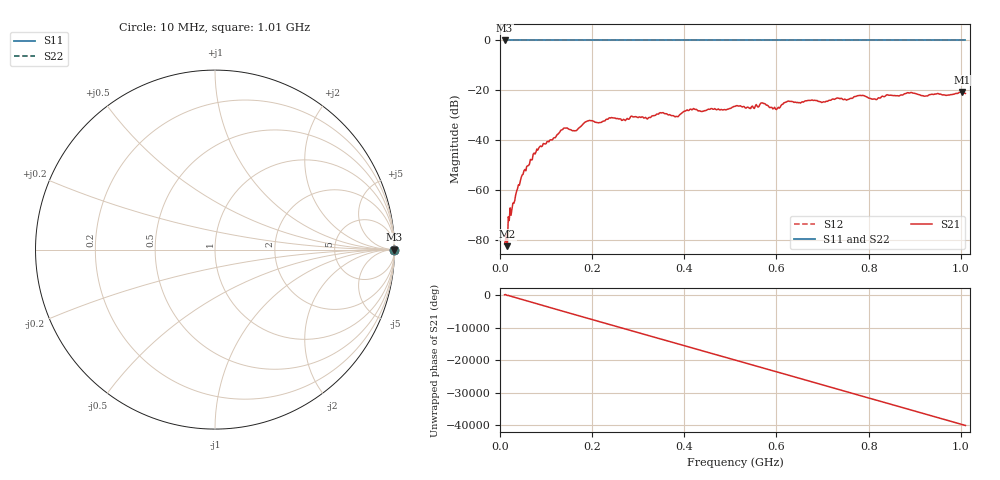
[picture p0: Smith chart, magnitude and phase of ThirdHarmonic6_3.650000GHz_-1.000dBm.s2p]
! 8/17/2025 12:17:16 PM
! C:\ANRITSUVNA\TEMP\TEMP.S2P
! CHANNEL.1
! TR.MEASUREMENT
! RAW.DATA
! RF.CORRECTION.OFF
! AVERAGING.OFF
! IF.BANDWIDTH: 5KHZ
! SWEEPTYPE:  FREQ.SWEEP(Linear)
! Reference Plane Port Info
! PORT:  PORT1  PORT2
! DISTANCE:  0  m  0  m
! TIME:  0  s  0  s
! PHASE.OFFSET:  0  deg.  0  deg.
! LOSS:  0  dB  0  dB
! REF.LOSS:  0  dB  0  dB
! REF.FREQ:  0  Hz  0  Hz
! Power Info
! POWER:  -20  dBm  -20  dBm
! EFF.POWER:  -20  dBm  -20  dBm
! SOURCE.ATTEN:  0  dB  0  dB
! TEST.ATTEN:  0  dB  0  dB
# GHZ S RI R 50.0
! FREQ.GHZ  S11RE  S11IM  S21RE  S21IM  S12RE  S12IM  S22RE  S22IM
!; PortSelection: Port_12
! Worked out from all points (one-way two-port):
!   501 points, 10 MHz to 1.01 GHz, reference 50 ohm
!   highest |S21| = -20.62 dB at 1.002 GHz (marker M1); lowest = -82.3 dB at 16 MHz (marker M2)
!   lowest |S11| = 0.0 dB at 10 MHz (marker M3)
!   |S11| at or under -10 dB: nowhere
!   |S22| runs from 0.0 to 0.0 dB; largest |S21 - S12| = 1.1
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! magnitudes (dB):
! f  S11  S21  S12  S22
! 10 MHz  0.0  -81.4  0.0  0.0
! 16 MHz  0.0  -82.3  0.0  0.0
! 22 MHz  0.0  -67.0  0.0  0.0
! 44 MHz  0.0  -56.3  0.0  0.0
! 76 MHz  0.0  -45.5  0.0  0.0
! 136 MHz  0.0  -35.7  0.0  0.0
! 162 MHz  0.0  -36.2  0.0  0.0
! 178 MHz  0.0  -33.9  0.0  0.0
! 194 MHz  0.0  -32.0  0.0  0.0
! 322 MHz  0.0  -31.0  0.0  0.0
! 344 MHz  0.0  -29.5  0.0  0.0
! 384 MHz  0.0  -30.4  0.0  0.0
! 416 MHz  0.0  -27.8  0.0  0.0
! 510 MHz  0.0  -26.4  0.0  0.0
! 570 MHz  0.0  -25.0  0.0  0.0
! 602 MHz  0.0  -27.2  0.0  0.0
! 624 MHz  0.0  -24.3  0.0  0.0
! 678 MHz  0.0  -23.9  0.0  0.0
! 814 MHz  0.0  -23.4  0.0  0.0
! 844 MHz  0.0  -21.9  0.0  0.0
! 1.002 GHz  0.0  -20.6  0.0  0.0
! 1.01 GHz  0.0  -21.2  0.0  0.0
